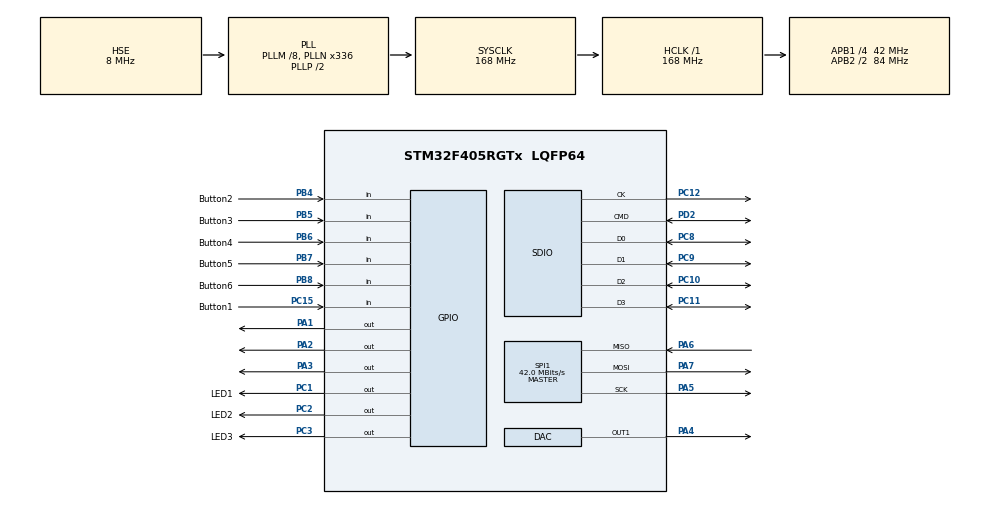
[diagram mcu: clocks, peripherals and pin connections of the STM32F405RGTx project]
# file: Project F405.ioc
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Mcu.Family=STM32F4
Dma.SPI1_TX.4.MemInc=DMA_MINC_ENABLE
PA6.Mode=Full_Duplex_Master
PH0-OSC_IN.Signal=RCC_OSC_IN
RCC.CortexFreq_Value=168000000
Dma.SDIO_RX.1.PeriphDataAlignment=DMA_PDATAALIGN_WORD
SPI1.VirtualType=VM_MASTER
Dma.SPI1_RX.3.PeriphInc=DMA_PINC_DISABLE
VP_FATFS_VS_SDIO.Mode=SDIO
PC10.Signal=SDIO_D2
PC12.Signal=SDIO_CK
Dma.SDIO_RX.1.Mode=DMA_PFCTRL
Dma.SDIO_RX.1.Direction=DMA_PERIPH_TO_MEMORY
Dma.SPI1_RX.3.Instance=DMA2_Stream0
Dma.SDIO_RX.1.Priority=DMA_PRIORITY_LOW
PB6.GPIO_Label=Button4
PC2.GPIO_Speed=GPIO_SPEED_FREQ_HIGH
Dma.SPI1_RX.3.Mode=DMA_NORMAL
PC15-OSC32_OUT.GPIO_Label=Button1
PC3.GPIO_Speed=GPIO_SPEED_FREQ_HIGH
RCC.SYSCLKSource=RCC_SYSCLKSOURCE_PLLCLK
ProjectManager.StackSize=0x400
PC3.PinState=GPIO_PIN_SET
Dma.SPI1_RX.3.MemDataAlignment=DMA_MDATAALIGN_BYTE
Dma.SDIO_RX.1.Instance=DMA2_Stream3
Dma.SDIO_TX.2.Mode=DMA_PFCTRL
Dma.SPI1_RX.3.Priority=DMA_PRIORITY_LOW
Dma.SDIO_TX.2.MemDataAlignment=DMA_MDATAALIGN_WORD
SPI1.Direction=SPI_DIRECTION_2LINES
RCC.HCLKFreq_Value=168000000
Dma.DAC1.0.PeriphInc=DMA_PINC_DISABLE
RCC.APB2TimFreq_Value=168000000
Dma.SDIO_RX.1.FIFOMode=DMA_FIFOMODE_ENABLE
PB6.Signal=GPIO_Input
SPI1.CalculateBaudRate=42.0 MBits/s
PC3.Signal=GPIO_Output
NVIC.DMA2_Stream0_IRQn=true\:0\:0\:false\:false\:true\:false\:true
PC1.PinState=GPIO_PIN_SET
Dma.DAC1.0.Direction=DMA_MEMORY_TO_PERIPH
RCC.AHBFreq_Value=168000000
PH0-OSC_IN.Mode=HSE-External-Oscillator
RCC.HSE_VALUE=8000000
Dma.SPI1_TX.4.FIFOMode=DMA_FIFOMODE_DISABLE
Dma.DAC1.0.Priority=DMA_PRIORITY_LOW
DAC.DAC_Trigger=DAC_TRIGGER_T6_TRGO
Dma.DAC1.0.FIFOMode=DMA_FIFOMODE_DISABLE
PA14.Mode=Serial_Wire
Dma.SPI1_RX.3.Direction=DMA_PERIPH_TO_MEMORY
NVIC.TIM2_IRQn=true\:0\:0\:false\:false\:true\:true\:true
PC9.Mode=SD_4_bits_Wide_bus
Dma.SDIO_TX.2.Direction=DMA_MEMORY_TO_PERIPH
PB7.Signal=GPIO_Input
Dma.SPI1_TX.4.MemDataAlignment=DMA_MDATAALIGN_BYTE
TIM6.Period=93
PH1-OSC_OUT.Mode=HSE-External-Oscillator
PB7.GPIO_Label=Button5
Mcu.Package=LQFP64
PA6.Signal=SPI1_MISO
Dma.DAC1.0.PeriphDataAlignment=DMA_PDATAALIGN_HALFWORD
Dma.SPI1_TX.4.Direction=DMA_MEMORY_TO_PERIPH
Dma.SDIO_TX.2.PeriphBurst=DMA_PBURST_INC4
Dma.DAC1.0.Mode=DMA_CIRCULAR
PC11.Mode=SD_4_bits_Wide_bus
Dma.SDIO_RX.1.PeriphBurst=DMA_PBURST_INC4
RCC.APB2CLKDivider=RCC_HCLK_DIV2
PB5.GPIO_Label=Button3
Dma.Request2=SDIO_TX
Dma.Request1=SDIO_RX
RCC.APB1TimFreq_Value=84000000
Dma.Request4=SPI1_TX
Dma.Request3=SPI1_RX
Dma.Request0=DAC1
Dma.SDIO_TX.2.FIFOThreshold=DMA_FIFO_THRESHOLD_FULL
PC2.GPIO_Label=LED2
PB4.Signal=GPIO_Input
PA3.Signal=GPIO_Output
PA5.Mode=Full_Duplex_Master
PB7.GPIO_PuPd=GPIO_PULLUP
RCC.PLLSourceVirtual=RCC_PLLSOURCE_HSE
SH.COMP_DAC1_group.0=DAC_OUT1,DAC_OUT1
Dma.SDIO_TX.2.MemInc=DMA_MINC_ENABLE
Dma.DAC1.0.Instance=DMA1_Stream5
PA7.Mode=Full_Duplex_Master
PC11.Signal=SDIO_D3
PB6.GPIO_PuPd=GPIO_PULLUP
Dma.SPI1_TX.4.PeriphDataAlignment=DMA_PDATAALIGN_BYTE
PC8.Signal=SDIO_D0
PB8.GPIO_PuPd=GPIO_PULLUP
PC2.Signal=GPIO_Output
PC10.Mode=SD_4_bits_Wide_bus
VP_TIM6_VS_ClockSourceINT.Mode=Enable_Timer
Dma.SDIO_TX.2.Instance=DMA2_Stream6
RCC.APB1CLKDivider=RCC_HCLK_DIV4
Dma.SPI1_TX.4.Instance=DMA2_Stream5
Dma.SDIO_RX.1.PeriphInc=DMA_PINC_DISABLE
Dma.DAC1.0.MemDataAlignment=DMA_MDATAALIGN_HALFWORD
PA13.Signal=SYS_JTMS-SWDIO
PB8.GPIO_Label=Button6
ProjectManager.TargetToolchain=MDK-ARM V5
NVIC.DMA1_Stream5_IRQn=true\:0\:0\:false\:false\:true\:false\:true
Dma.SDIO_TX.2.PeriphDataAlignment=DMA_PDATAALIGN_WORD
PB4.GPIO_PuPd=GPIO_PULLUP
NVIC.DMA2_Stream3_IRQn=true\:0\:0\:false\:false\:true\:false\:true
NVIC.DMA2_Stream6_IRQn=true\:0\:0\:false\:false\:true\:false\:true
RCC.LSE_VALUE=32768
PC15-OSC32_OUT.Signal=GPIO_Input
PA1.Signal=GPIO_Output
Dma.SDIO_RX.1.MemDataAlignment=DMA_MDATAALIGN_WORD
Dma.SDIO_RX.1.FIFOThreshold=DMA_FIFO_THRESHOLD_FULL
Dma.SPI1_RX.3.MemInc=DMA_MINC_ENABLE
PD2.Mode=SD_4_bits_Wide_bus
PA5.Signal=SPI1_SCK
PC12.Mode=SD_4_bits_Wide_bus
board=custom
Dma.SDIO_RX.1.MemBurst=DMA_MBURST_INC4
RCC.VCOOutputFreq_Value=336000000
RCC.APB2Freq_Value=84000000
PB4.GPIO_Label=Button2
VP_TIM2_VS_ClockSourceINT.Mode=Internal
SPI1.Mode=SPI_MODE_MASTER
NVIC.DMA2_Stream5_IRQn=true\:0\:0\:false\:false\:true\:false\:true
PC1.GPIO_Label=LED1
TIM6.TIM_MasterOutputTrigger=TIM_TRGO_UPDATE
PH1-OSC_OUT.Signal=RCC_OSC_OUT
PC1.GPIO_Speed=GPIO_SPEED_FREQ_HIGH
PC15-OSC32_OUT.GPIO_PuPd=GPIO_PULLUP
TIM2.Period=349999
PA13.Mode=Serial_Wire
Mcu.Name=STM32F405RGTx
PA2.Signal=GPIO_Output
Dma.SDIO_TX.2.Priority=DMA_PRIORITY_LOW
FATFS._MAX_SS=4096
PC8.Mode=SD_4_bits_Wide_bus
Dma.SPI1_TX.4.PeriphInc=DMA_PINC_DISABLE
RCC.48MHZClocksFreq_Value=48000000
Dma.SPI1_TX.4.Priority=DMA_PRIORITY_LOW
PA4.Signal=COMP_DAC1_group
RCC.SYSCLKFreq_VALUE=168000000
PB5.Signal=GPIO_Input
PC2.PinState=GPIO_PIN_SET
Dma.DAC1.0.MemInc=DMA_MINC_ENABLE
Dma.SPI1_RX.3.PeriphDataAlignment=DMA_PDATAALIGN_BYTE
PB5.GPIO_PuPd=GPIO_PULLUP
PA14.Signal=SYS_JTCK-SWCLK
Dma.SDIO_TX.2.MemBurst=DMA_MBURST_INC4
ProjectManager.HeapSize=0x200
Dma.SDIO_RX.1.MemInc=DMA_MINC_ENABLE
Dma.SDIO_TX.2.FIFOMode=DMA_FIFOMODE_ENABLE
Dma.SPI1_TX.4.Mode=DMA_NORMAL
RCC.HSI_VALUE=16000000
RCC.PLLQ=7
NVIC.PriorityGroup=NVIC_PRIORITYGROUP_4
Dma.SPI1_RX.3.FIFOMode=DMA_FIFOMODE_DISABLE
RCC.PLLM=8
RCC.PLLN=336
PB8.Signal=GPIO_Input
TIM2.AutoReloadPreload=TIM_AUTORELOAD_PRELOAD_ENABLE
PC3.GPIO_Label=LED3
Dma.SDIO_TX.2.PeriphInc=DMA_PINC_DISABLE
PC9.Signal=SDIO_D1
PD2.Signal=SDIO_CMD
RCC.APB1Freq_Value=42000000
PC1.Signal=GPIO_Output
PA7.Signal=SPI1_MOSI

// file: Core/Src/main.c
/* USER CODE BEGIN Header */
/**
  ******************************************************************************
  * @file           : main.c
  * @brief          : Main program body
  ******************************************************************************
  * @attention
  *
  * <h2><center>&copy; Copyright (c) 2020 STMicroelectronics.
  * All rights reserved.</center></h2>
  *
  * This software component is licensed by ST under BSD 3-Clause license,
  * the "License"; You may not use this file except in compliance with the
  * License. You may obtain a copy of the License at:
  *                        opensource.org/licenses/BSD-3-Clause
  *
  ******************************************************************************
  */
/* USER CODE END Header */
#include "main.h"
#include "fatfs.h"

/* USER CODE BEGIN Includes */
#include "stdio.h"
#include "string.h"
#include "stdlib.h"

#include "nes_channels.h"
#include "emulator6502.h"
#include "button.h"

//Tony's include library
#include "lcd.h"
#include "nsf.h"
/* USER CODE END Includes */

/* USER CODE BEGIN PD */
#define LED1 GPIOC, GPIO_PIN_1
#define LED2 GPIOC, GPIO_PIN_2
#define LED3 GPIOC, GPIO_PIN_3

//#define SAFE_TESTING
#ifdef SAFE_TESTING
	#include "nsf_array.h"
#endif
/* USER CODE END PD */

DAC_HandleTypeDef hdac;
DMA_HandleTypeDef hdma_dac1;

SD_HandleTypeDef hsd;
DMA_HandleTypeDef hdma_sdio_rx;
DMA_HandleTypeDef hdma_sdio_tx;

SPI_HandleTypeDef hspi1;
DMA_HandleTypeDef hdma_spi1_rx;
DMA_HandleTypeDef hdma_spi1_tx;

TIM_HandleTypeDef htim2;
TIM_HandleTypeDef htim6;

/* USER CODE BEGIN PV */
#define DAC_BUFFER_LEN 256
uint16_t DAC_BUFFER[DAC_BUFFER_LEN] = {0};

//music player variables
//uint8_t song_loaded = 0;
//uint8_t song_select = 0;
//uint8_t num_songs = 18;
//uint8_t led_bug = 0;
struct {
	uint8_t nsf_loaded;
	uint8_t song_loaded;
	uint8_t song_select;
	uint8_t num_songs;
	uint8_t paused;
} musicPlayer;

volatile uint8_t update_flag = 0;
//volatile uint8_t song_changing = 0;

//NES channels
PulseChannel pulse1 = {
	.volume = 0,
	.sweep_complement = 1,
};

PulseChannel pulse2 = {
	.volume = 0,
	.sweep_complement = 0,
};

TriangleChannel triangle = {
	.timer_lo = 0,
};

NoiseChannel noise = {
	.shift_register = 1,
	.volume = 0,
};

//sd card variables
extern char SDPath[4];
extern FATFS SDFatFS;
extern FIL SDFile;

FRESULT res;
uint32_t byteswritten, bytesread;
nsf_file file;
char file_name_list[10][40];

#define max_song 10//for easier implementation without using daynamic array
#define total_channel 4
extern TFT_Select_list selected;
extern TFT_Select_list_detail selected_detail;
int file_count =0;
int other_stuff=0;
int sd_card_inserted_flag =0;
int channel_enabled[4];
/* USER CODE END PV */

void SystemClock_Config(void);
static void MX_GPIO_Init(void);
static void MX_DMA_Init(void);
static void MX_DAC_Init(void);
static void MX_TIM6_Init(void);
static void MX_SDIO_SD_Init(void);
static void MX_SPI1_Init(void);
static void MX_TIM2_Init(void);
/* USER CODE BEGIN PFP */
FRESULT scan_files (char* path);
void scan_nsf_file(char * file_name);
/* USER CODE END PFP */

/* USER CODE BEGIN 0 */
#define AUDIO_VOLUME 0.3f

void mixAudio(uint16_t *buffer, uint8_t *mix_buffer, uint16_t len) {
	//perform mixing on a buffer 4 times the length of (half) output to DAC buffer
	//overall scaling done here
	//note that len should be the length of the output buffer aka 1/4 length of buffer
	#pragma unroll 8
	for (uint16_t i = 0; i < len; ++i) {
		#define p1 mix_buffer[i]
		#define p2 mix_buffer[len + i]
		#define tr mix_buffer[2*len + i]
		#define ns mix_buffer[3*len + i]

		//pulse mixing
		float pulseMix = (p1 + p2) == 0 ? 0 : (95.88f / (8128.0f / (p1 + p2) + 100));
		//tri and noise mixing
		float tnMix = (tr + ns) == 0 ? 0 : (159.79f / (1.0f / (tr / 8227.0f + ns / 12241.0f) + 100));

		//put in buffer with scaling
		buffer[i] = (uint16_t)((pulseMix + tnMix) * 4095 * AUDIO_VOLUME);

		//overflow check
		if (buffer[i] > 4095) buffer[i] = 4095;
	}
}

//helper for force mute/unmute all channels
void forceMute(uint8_t muted) {
	pulse1.channel_muted = muted;
	pulse2.channel_muted = muted;
	triangle.channel_muted = muted;
	noise.channel_muted = muted;
}

//going safe method here
uint8_t mix_buffer[DAC_BUFFER_LEN * 4 / 2] = {0};

// DMA INTERRUPTS
void update_DAC_BUFFER(uint16_t *buffer, uint16_t len) {
	//if changing song, return
	//if (song_changing) return;
	//create a temp array for mixing
	//uint8_t* mix_buffer = (uint8_t*)malloc(len * 4);
	memset(mix_buffer, 0, len * 4);

	if (!musicPlayer.paused) {
		readPulse(&mix_buffer[0], len, &pulse1);
		readPulse(&mix_buffer[len], len, &pulse2);
		readTriangle(&mix_buffer[2*len], len, &triangle);
		readNoise(&mix_buffer[3*len], len, &noise);
	}

	//do mixing
	mixAudio(buffer, mix_buffer, len);

	//release memory
	//free(mix_buffer);
}

void HAL_DAC_ConvHalfCpltCallbackCh1(DAC_HandleTypeDef *hdac) {
	update_DAC_BUFFER(&DAC_BUFFER[0], DAC_BUFFER_LEN/2);
}

void HAL_DAC_ConvCpltCallbackCh1(DAC_HandleTypeDef *hdac) {
	update_DAC_BUFFER(&DAC_BUFFER[DAC_BUFFER_LEN/2], DAC_BUFFER_LEN/2);
}

void initRAM(uint16_t init_addr, uint16_t play_addr) {
	memset(pRAM, 0, 0x0800);
	memset(pSRAM, 0, 0x2000);
	memset(pExRAM, 0, 0x1000);
	pStack = pRAM + 0x100;

	pExRAM[0x00] = 0x20;						//JSR
	memcpy(&pExRAM[0x01],&init_addr,2);	//Init Address
	pExRAM[0x03] = 0xF2;						//JAM
	pExRAM[0x04] = 0x20;						//JSR
	memcpy(&pExRAM[0x05],&play_addr,2);	//Play Address
	pExRAM[0x07] = 0x4C;						//JMP
	pExRAM[0x08] = 0x03;						//$5003  (JAM right before the JSR to play address)
	pExRAM[0x09] = 0x50;

	regA = regX = regY = 0;
	regP = 0x04;			//I_FLAG
	regSP = 0xFF;

	/*	Reset Read/Write Procs			*/
	ReadMemory[0] = ReadMemory[1] = ReadMemory_RAM;
	ReadMemory[2] = ReadMemory[3] = ReadMemory_Default;
	ReadMemory[4] =					ReadMemory_pAPU;
	ReadMemory[5] =					ReadMemory_ExRAM;
	ReadMemory[6] = ReadMemory[7] = ReadMemory_SRAM;

	WriteMemory[0] = WriteMemory[1] =	WriteMemory_RAM;
	WriteMemory[2] = WriteMemory[3] =	WriteMemory_Default;
	WriteMemory[4] =					WriteMemory_pAPU;
	WriteMemory[5] =					WriteMemory_ExRAM;
	WriteMemory[6] = WriteMemory[7] =	WriteMemory_SRAM;

	for(int i = 8; i < 16; i++) {
		ReadMemory[i] = ReadMemory_ROM;
		WriteMemory[i] = WriteMemory_Default;
	}
}

void initInstruction(void) {
	//do init instructions
	while (regPC != 0x5003) { //until PC reaches after INIT
		//execute next instruction
		emulate6502(nCPUCycle + 1);
		if (regPC < 0x5000 || (regPC > 0x5009 && regPC < 0x8000)) {
			musicPlayer.paused = 1;
			break;
		}
	}
}

void initSong(void) {
	//set flag
	//__disable_irq();
	//song_changing = 1;
	//memset(DAC_BUFFER, 0, DAC_BUFFER_LEN * 2);
	uint8_t song_num = musicPlayer.song_select;
	if (song_num == 0) {
		musicPlayer.song_loaded = 0;
		forceMute(1);
		return;
	}
	else {
		musicPlayer.song_loaded = 1;
		forceMute(0);
	}

	regPC = 0x5000;
	regA = song_num - 1;
	regX = bPALMode;
	regY = 0; //bCleanAXY ? 0 : 0xCD;
	regSP = 0xFF;
	//if(bCleanAXY)
	//	regP = 0x04;
	bCPUJammed = 0;

	nCPUCycle = nAPUCycle = 0;

	for(int i = 0x4000; i < 0x400F; i++)
		WriteMemory_pAPU(i,0);
	WriteMemory_pAPU(0x4010,0);
	WriteMemory_pAPU(0x4012,0);
	WriteMemory_pAPU(0x4013,0);
	WriteMemory_pAPU(0x4014,0);
	WriteMemory_pAPU(0x4015,0);
	WriteMemory_pAPU(0x4015,0x0F);
	WriteMemory_pAPU(0x4017,0);

	for(int i = 0; i < 10; i++) {
		WriteMemory_ExRAM(0x5FF6 + i, nBankswitchInitValues[i]);
	}

	//apparently songs can be switched without calling INIT instructions
	//but let's just do what the wiki says
	initInstruction();

	//reset flag
	//song_changing = 0;
	//__enable_irq();
}

// Load the SD card data into pROM_Full
// (UNUSED, implemented in scan_nsf_file())
void load_ROM() {
	//memset(pROM_Full, 0, 0x8000);
	#ifdef SAFE_TESTING
	int idx = 0xbdc4;
	for (uint32_t i=0; i<16956; ++i) {
		pROM_Full[idx - 0x8000 + i] = NSF_ARRAY[i];
	}
	#endif

}

// Call this function after finishing reading nsf file
void load_NSF_data(nsf_file* file) {
	//init RAM stuff
	uint16_t init_addr = (int16_t)file->format.init_address_orgin[1]<<8 | file->format.init_address_orgin[0];
	uint16_t play_addr = (int16_t)file->format.play_address_orgin[1]<<8 | file->format.play_address_orgin[0];
	initRAM(init_addr, play_addr);

	//bankswitching setup
	uint8_t use_bankswitch = 0;
	for (uint8_t i=0; i<8; ++i) use_bankswitch += file->format.Bankswitch[i];
	if (use_bankswitch) {
		for (uint8_t i=0; i<10; ++i) {
			if (i >= 2) {
				nBankswitchInitValues[i] = file->format.Bankswitch[i-2];
			}
			else nBankswitchInitValues[i] = i;
		}
	}
	else {
		for (uint8_t i=0; i<10; ++i) {
			if (i >= 2) nBankswitchInitValues[i] = i-2;
			else nBankswitchInitValues[i] = i;
		}
	}

	//init the first song
	//change the default values to NSF data (i may group these variables to one object later, for now just use it)
	musicPlayer.song_select = 0;//file->format.starting_song;
	musicPlayer.num_songs = file->format.total_song;
	initSong();

	//unpause
	musicPlayer.nsf_loaded = 1;
	musicPlayer.paused = 0;
}

//Frame Counter Timer
void HAL_TIM_PeriodElapsedCallback(TIM_HandleTypeDef *htim) {
	if (htim != &htim2) return;
	update_flag = 1;
}

/**
	* Define callbacks for buttons here
	* Then remember to add callbacks in button.c
	*/
void SW5_pressed_callback(void) {
	if (!musicPlayer.nsf_loaded) return;
	switch(selected_detail){
			case TFT_PAUSE:
				musicPlayer.paused ^= 1;
				break;
			case TFT_P1:
				pulse1.channel_muted ^=1;
			break;
			case TFT_P2:
				pulse2.channel_muted ^=1;
			break;
			case TFT_TR:
				triangle.channel_muted ^=1;
			break;
			case TFT_NS:
				noise.channel_muted ^=1;
			break;
			case TFT_SONG:

			default:
				break;
		}
}
//uint8_t first = 1;
void SW2_pressed_callback(void) {
	if (!musicPlayer.nsf_loaded) {
		#ifdef SAFE_TESTING
			load_ROM();
			uint16_t init_addr = 0xbe34;
			uint16_t play_addr = 0xf2d0;
			initRAM(init_addr, play_addr);
			song_select = 2;
			num_songs = 18;
			initSong(song_select);
			//if (first) {
			//	initInstruction();
			//	first = 0;
			//}
			song_loaded = 1;
		#else
			scan_nsf_file(file_name_list[selected-1]);
		#endif
		selected_detail = TFT_SONG;
	}
	else{
		musicPlayer.nsf_loaded = 0;
		//memset(DAC_BUFFER,0,DAC_BUFFER_LEN*2);
		tft_update(0);
		forceMute(1);
	}
}

void SW4_pressed_callback(void) {
	if(!musicPlayer.nsf_loaded) {
		selected = selected +1;
		if(selected >file_count+other_stuff){
			//if(file_count+other_stuff==0)
			//	selected = 0;
			//else if(other_stuff==0)
				selected = 1;
			//else if(selected >file_count)
			//	selected = max_song+1;
			//else
			//	selected=1;
		}
	}
	else{
		switch(selected_detail){
			case TFT_SONG:
				selected_detail=TFT_P1;
				break;
			case TFT_PAUSE:
				selected_detail=TFT_SONG;
				break;
			case TFT_P1:
			case TFT_P2:
			case TFT_TR:
			case TFT_NS:
				selected_detail=TFT_PAUSE;
				break;
			default:
				break;
		}
	}
}

void SW6_pressed_callback(void) {
	if(!musicPlayer.nsf_loaded) {
		selected = selected - 1;
		if(selected < 1){
			//if(file_count+other_stuff==0)
			//	selected = 0;
			//else if(other_stuff==0)
				selected = file_count;
			//else if(selected < 1)
			//	selected = max_song+1;
			//else
			//	selected=1;
		}
	}
	else{
		switch(selected_detail){
			case TFT_SONG:
				selected_detail=TFT_PAUSE;
				break;
			case TFT_PAUSE:
				selected_detail=TFT_P1;
				break;
			case TFT_P1:
			case TFT_P2:
			case TFT_TR:
			case TFT_NS:
				selected_detail=TFT_SONG;
				break;
			default:
				break;
		}
	}
}

void SW3_pressed_callback(void) {
	if (!musicPlayer.nsf_loaded) return;
	switch(selected_detail){
			case TFT_SONG:
				if (musicPlayer.song_select == 0) musicPlayer.song_select = musicPlayer.num_songs + 1;
				musicPlayer.song_select = (musicPlayer.song_select - 1) % (musicPlayer.num_songs + 1);
				initSong();
				break;
			case TFT_PAUSE:
				break;
			case TFT_P1:
				selected_detail = TFT_NS;
			break;
			case TFT_P2:
				selected_detail = TFT_P1;
			break;
			case TFT_TR:
				selected_detail = TFT_P2;
			break;
			case TFT_NS:
				selected_detail = TFT_TR;
			break;
			default:
				break;
		}
}

void SW7_pressed_callback(void){
	if (!musicPlayer.nsf_loaded) return;
	switch(selected_detail){
			case TFT_SONG:
				musicPlayer.song_select = (musicPlayer.song_select + 1) % (musicPlayer.num_songs + 1);
				initSong();
				break;
			case TFT_PAUSE:
				break;
			case TFT_P1:
				selected_detail = TFT_P2;
			break;
			case TFT_P2:
				selected_detail = TFT_TR;
			break;
			case TFT_TR:
				selected_detail = TFT_NS;
			break;
			case TFT_NS:
				selected_detail = TFT_P1;
			break;
			default:
				break;
		}
}

/* USER CODE END 0 */

int main(void)
{

  /* MCU Configuration--------------------------------------------------------*/

  /* Reset of all peripherals, Initializes the Flash interface and the Systick. */
  HAL_Init();

  /* Configure the system clock */
  SystemClock_Config();

  /* Initialize all configured peripherals */
  MX_GPIO_Init();
  MX_DMA_Init();
  MX_DAC_Init();
  MX_TIM6_Init();
  MX_SDIO_SD_Init();
  MX_SPI1_Init();
  MX_FATFS_Init();
  MX_TIM2_Init();
  /* USER CODE BEGIN 2 */
	initTriangleLookup();
	initButtons();
  /* USER CODE END 2 */

  /* Infinite loop */
  /* USER CODE BEGIN WHILE */
	HAL_TIM_Base_Start_IT(&htim2);
	HAL_TIM_Base_Start(&htim6);
	HAL_DAC_Start(&hdac, DAC_CHANNEL_1);
	HAL_DAC_Start_DMA(&hdac, DAC_CHANNEL_1, (uint32_t*)DAC_BUFFER, DAC_BUFFER_LEN, DAC_ALIGN_12B_R);
	//TFT init and sd card mount and get the file name
	tft_init(PIN_ON_TOP, WHITE, BLACK, RED, GREEN);
	char buff[10];
	//HAL_Delay(1000);
	res= f_mount(&SDFatFS, (TCHAR const*)SDPath, 0);
	sd_card_inserted_flag=1;
//	if(res != FR_OK)
//			sd_card_inserted_flag=0;
//	else
//		sd_card_inserted_flag=1;
	strcpy(buff, "/");
	res = scan_files(buff);
//	for(uint32_t i=0; i<total_channel;i++){
//		channel_enabled[i]= 1;
//	}

  while (1)
  {
    /* USER CODE END WHILE */

    /* USER CODE BEGIN 3 */
		//TFT_print thread
		//Wave generation thread
		static uint32_t last_tft_ticks = 0;
		if (HAL_GetTick() - last_tft_ticks >= 50) {
			last_tft_ticks = HAL_GetTick();

		//check for sd card
//		if(sd_card_inserted_flag==0){
//		res= f_mount(&SDFatFS, (TCHAR const*)SDPath, 0);
//			if(res != FR_OK)
//				sd_card_inserted_flag=0;
//			else
//				sd_card_inserted_flag=1;
//		}
//		if(sd_card_inserted_flag==1){
//		res = f_stat("SUPERM~1.NSF",NULL);
//			if(res != FR_OK)
//				sd_card_inserted_flag=0;
//			else
//				sd_card_inserted_flag=1;
//		}

		if(sd_card_inserted_flag==1){
			if(!musicPlayer.nsf_loaded){
				tft_prints(0,3,"Files:");
				for (uint32_t i =0; i< file_count; i ++){
					custom_tft_prints(0,4+i,i+1,0,file_name_list[i]);
				}
			}
			else{
				char buffer[10];
				tft_prints(0,0,"Name: ");
				tft_prints(7,0,file.format.name);
				tft_prints(0,1,"Artist: ");
				tft_prints(9,1,file.format.artist);
				tft_prints(0,2,"Copyright: ");
				tft_prints(12,2,file.format.copy_right);
				custom_tft_prints(0,3,TFT_SONG,1,"current song: ");
				tft_prints(15,3,"%d/%d",musicPlayer.song_select,musicPlayer.num_songs);

				tft_prints(0,4,"Channels: ");
				if(pulse1.channel_muted == 0){
					tft_set_text_color(BLUE);
					custom_tft_prints(10,4,TFT_P1,1,"ch_1");
					tft_set_text_color(BLACK);
				}
				else
					custom_tft_prints(10,4,TFT_P1,1,"ch_1");
				if(pulse2.channel_muted == 0){
					tft_set_text_color(BLUE);
					custom_tft_prints(17,4,TFT_P2,1,"ch_2");
					tft_set_text_color(BLACK);
				}
				else
					custom_tft_prints(17,4,TFT_P2,1,"ch_2");
				if(triangle.channel_muted == 0){
					tft_set_text_color(BLUE);
					custom_tft_prints(24,4,TFT_TR,1,"ch_3");
					tft_set_text_color(BLACK);
				}
				else
					custom_tft_prints(24,4,TFT_TR,1,"ch_3");
				if(noise.channel_muted  == 0){
					tft_set_text_color(BLUE);
					custom_tft_prints(31,4,TFT_NS,1,"ch_4");
					tft_set_text_color(BLACK);
				}
				else
					custom_tft_prints(31,4,TFT_NS,1,"ch_4");

				custom_tft_prints(0,5,TFT_PAUSE,1,"PAUSED: ");
				tft_prints(10,5,"%d",(int)musicPlayer.paused);

		}
	 }
		else{
			tft_prints(0,3,"SD card is not inserted");
		}
		tft_update(0);
	 }
		//Wave generation thread
		static uint32_t last_wav_ticks = 0;
		if (HAL_GetTick() - last_wav_ticks >= 1) {
			last_wav_ticks = HAL_GetTick();

			if (update_flag) {
				static uint8_t wav_counter = 0;

				//do frame clocking at 240Hz
				clockFrame();

				//do next frame at 60 Hz
				if (wav_counter == 0)
				{
					if(musicPlayer.song_loaded && !musicPlayer.paused) {
						while (!(regPC > 0x5FFF)) { //until PC reaches PLAY instructions
							//execute next instruction
							emulate6502(nCPUCycle + 1);
							if (regPC < 0x5000 || (regPC > 0x5009 && regPC < 0x8000) || (bCPUJammed == 1)) {
								musicPlayer.paused = 1;
								break;
							}
						}
						while (regPC != 0x5007) { //until PC finishes PLAY instructions
							//execute next instruction
							emulate6502(nCPUCycle + 1);
							if (regPC < 0x5000 || (regPC > 0x5009 && regPC < 0x8000) || (bCPUJammed == 1)) {
								musicPlayer.paused = 1;
								break;
							}
						}
					}
				}

				//update
				wav_counter = (wav_counter + 1) % 4;

				//reset flag
				update_flag = 0;
			}
		}

		//LED thread
		static uint32_t last_led_ticks = 0;
		if (HAL_GetTick() - last_led_ticks >= 250) {
			last_led_ticks = HAL_GetTick();
			HAL_GPIO_TogglePin(LED3);
		}
		static uint32_t last_led2_ticks = 0;
		if (HAL_GetTick() - last_led2_ticks >= 10) {
			HAL_GPIO_WritePin(LED2, (GPIO_PinState)(!(musicPlayer.paused & 0x01)));
			HAL_GPIO_WritePin(LED1, (GPIO_PinState)(!(musicPlayer.paused & 0x02)));
		}

		//button thread
		static uint32_t last_button_ticks = 0;
		if (HAL_GetTick() - last_button_ticks >= 50) {
			last_button_ticks = HAL_GetTick();
			updateButtons();
		}
  }
  /* USER CODE END 3 */
}

void SystemClock_Config(void)
{
  RCC_OscInitTypeDef RCC_OscInitStruct = {0};
  RCC_ClkInitTypeDef RCC_ClkInitStruct = {0};

  /** Configure the main internal regulator output voltage
  */
  __HAL_RCC_PWR_CLK_ENABLE();
  __HAL_PWR_VOLTAGESCALING_CONFIG(PWR_REGULATOR_VOLTAGE_SCALE1);
  /** Initializes the RCC Oscillators according to the specified parameters
  * in the RCC_OscInitTypeDef structure.
  */
  RCC_OscInitStruct.OscillatorType = RCC_OSCILLATORTYPE_HSE;
  RCC_OscInitStruct.HSEState = RCC_HSE_ON;
  RCC_OscInitStruct.PLL.PLLState = RCC_PLL_ON;
  RCC_OscInitStruct.PLL.PLLSource = RCC_PLLSOURCE_HSE;
  RCC_OscInitStruct.PLL.PLLM = 8;
  RCC_OscInitStruct.PLL.PLLN = 336;
  RCC_OscInitStruct.PLL.PLLP = RCC_PLLP_DIV2;
  RCC_OscInitStruct.PLL.PLLQ = 7;
  if (HAL_RCC_OscConfig(&RCC_OscInitStruct) != HAL_OK)
  {
    Error_Handler();
  }
  /** Initializes the CPU, AHB and APB buses clocks
  */
  RCC_ClkInitStruct.ClockType = RCC_CLOCKTYPE_HCLK|RCC_CLOCKTYPE_SYSCLK
                              |RCC_CLOCKTYPE_PCLK1|RCC_CLOCKTYPE_PCLK2;
  RCC_ClkInitStruct.SYSCLKSource = RCC_SYSCLKSOURCE_PLLCLK;
  RCC_ClkInitStruct.AHBCLKDivider = RCC_SYSCLK_DIV1;
  RCC_ClkInitStruct.APB1CLKDivider = RCC_HCLK_DIV4;
  RCC_ClkInitStruct.APB2CLKDivider = RCC_HCLK_DIV2;

  if (HAL_RCC_ClockConfig(&RCC_ClkInitStruct, FLASH_LATENCY_5) != HAL_OK)
  {
    Error_Handler();
  }
}

static void MX_DAC_Init(void)
{

  DAC_ChannelConfTypeDef sConfig = {0};

  /** DAC Initialization
  */
  hdac.Instance = DAC;
  if (HAL_DAC_Init(&hdac) != HAL_OK)
  {
    Error_Handler();
  }
  /** DAC channel OUT1 config
  */
  sConfig.DAC_Trigger = DAC_TRIGGER_T6_TRGO;
  sConfig.DAC_OutputBuffer = DAC_OUTPUTBUFFER_ENABLE;
  if (HAL_DAC_ConfigChannel(&hdac, &sConfig, DAC_CHANNEL_1) != HAL_OK)
  {
    Error_Handler();
  }

}

static void MX_SDIO_SD_Init(void)
{

  hsd.Instance = SDIO;
  hsd.Init.ClockEdge = SDIO_CLOCK_EDGE_RISING;
  hsd.Init.ClockBypass = SDIO_CLOCK_BYPASS_DISABLE;
  hsd.Init.ClockPowerSave = SDIO_CLOCK_POWER_SAVE_DISABLE;
  hsd.Init.BusWide = SDIO_BUS_WIDE_1B;
  hsd.Init.HardwareFlowControl = SDIO_HARDWARE_FLOW_CONTROL_DISABLE;
  hsd.Init.ClockDiv = 20;

}

static void MX_SPI1_Init(void)
{

  /* SPI1 parameter configuration*/
  hspi1.Instance = SPI1;
  hspi1.Init.Mode = SPI_MODE_MASTER;
  hspi1.Init.Direction = SPI_DIRECTION_2LINES;
  hspi1.Init.DataSize = SPI_DATASIZE_8BIT;
  hspi1.Init.CLKPolarity = SPI_POLARITY_LOW;
  hspi1.Init.CLKPhase = SPI_PHASE_1EDGE;
  hspi1.Init.NSS = SPI_NSS_SOFT;
  hspi1.Init.BaudRatePrescaler = SPI_BAUDRATEPRESCALER_2;
  hspi1.Init.FirstBit = SPI_FIRSTBIT_MSB;
  hspi1.Init.TIMode = SPI_TIMODE_DISABLE;
  hspi1.Init.CRCCalculation = SPI_CRCCALCULATION_DISABLE;
  hspi1.Init.CRCPolynomial = 10;
  if (HAL_SPI_Init(&hspi1) != HAL_OK)
  {
    Error_Handler();
  }

}

static void MX_TIM2_Init(void)
{

  TIM_ClockConfigTypeDef sClockSourceConfig = {0};
  TIM_MasterConfigTypeDef sMasterConfig = {0};

  htim2.Instance = TIM2;
  htim2.Init.Prescaler = 0;
  htim2.Init.CounterMode = TIM_COUNTERMODE_UP;
  htim2.Init.Period = 349999;
  htim2.Init.ClockDivision = TIM_CLOCKDIVISION_DIV1;
  htim2.Init.AutoReloadPreload = TIM_AUTORELOAD_PRELOAD_ENABLE;
  if (HAL_TIM_Base_Init(&htim2) != HAL_OK)
  {
    Error_Handler();
  }
  sClockSourceConfig.ClockSource = TIM_CLOCKSOURCE_INTERNAL;
  if (HAL_TIM_ConfigClockSource(&htim2, &sClockSourceConfig) != HAL_OK)
  {
    Error_Handler();
  }
  sMasterConfig.MasterOutputTrigger = TIM_TRGO_RESET;
  sMasterConfig.MasterSlaveMode = TIM_MASTERSLAVEMODE_DISABLE;
  if (HAL_TIMEx_MasterConfigSynchronization(&htim2, &sMasterConfig) != HAL_OK)
  {
    Error_Handler();
  }

}

static void MX_TIM6_Init(void)
{

  TIM_MasterConfigTypeDef sMasterConfig = {0};

  /* USER CODE BEGIN TIM6_Init 1 */

	//=============================================================================//
	// REMEMBER TO CHANGE PERIOD TO (47 * TIMER_RATE) - 1 AFTER CONFIG WITH CUBEMX //
	//=============================================================================//

  /* USER CODE END TIM6_Init 1 */
  htim6.Instance = TIM6;
  htim6.Init.Prescaler = 0;
  htim6.Init.CounterMode = TIM_COUNTERMODE_UP;
  htim6.Init.Period = (47 * TIMER_RATE) - 1;
  htim6.Init.AutoReloadPreload = TIM_AUTORELOAD_PRELOAD_DISABLE;
  if (HAL_TIM_Base_Init(&htim6) != HAL_OK)
  {
    Error_Handler();
  }
  sMasterConfig.MasterOutputTrigger = TIM_TRGO_UPDATE;
  sMasterConfig.MasterSlaveMode = TIM_MASTERSLAVEMODE_DISABLE;
  if (HAL_TIMEx_MasterConfigSynchronization(&htim6, &sMasterConfig) != HAL_OK)
  {
    Error_Handler();
  }

}

static void MX_DMA_Init(void)
{

  /* DMA controller clock enable */
  __HAL_RCC_DMA1_CLK_ENABLE();
  __HAL_RCC_DMA2_CLK_ENABLE();

  /* DMA interrupt init */
  /* DMA1_Stream5_IRQn interrupt configuration */
  HAL_NVIC_SetPriority(DMA1_Stream5_IRQn, 0, 0);
  HAL_NVIC_EnableIRQ(DMA1_Stream5_IRQn);
  /* DMA2_Stream0_IRQn interrupt configuration */
  HAL_NVIC_SetPriority(DMA2_Stream0_IRQn, 0, 0);
  HAL_NVIC_EnableIRQ(DMA2_Stream0_IRQn);
  /* DMA2_Stream3_IRQn interrupt configuration */
  HAL_NVIC_SetPriority(DMA2_Stream3_IRQn, 0, 0);
  HAL_NVIC_EnableIRQ(DMA2_Stream3_IRQn);
  /* DMA2_Stream5_IRQn interrupt configuration */
  HAL_NVIC_SetPriority(DMA2_Stream5_IRQn, 0, 0);
  HAL_NVIC_EnableIRQ(DMA2_Stream5_IRQn);
  /* DMA2_Stream6_IRQn interrupt configuration */
  HAL_NVIC_SetPriority(DMA2_Stream6_IRQn, 0, 0);
  HAL_NVIC_EnableIRQ(DMA2_Stream6_IRQn);

}

static void MX_GPIO_Init(void)
{
  GPIO_InitTypeDef GPIO_InitStruct = {0};

  /* GPIO Ports Clock Enable */
  __HAL_RCC_GPIOC_CLK_ENABLE();
  __HAL_RCC_GPIOH_CLK_ENABLE();
  __HAL_RCC_GPIOA_CLK_ENABLE();
  __HAL_RCC_GPIOD_CLK_ENABLE();
  __HAL_RCC_GPIOB_CLK_ENABLE();

  /*Configure GPIO pin Output Level */
  HAL_GPIO_WritePin(GPIOC, LED1_Pin|LED2_Pin|LED3_Pin, GPIO_PIN_SET);

  /*Configure GPIO pin Output Level */
  HAL_GPIO_WritePin(GPIOA, GPIO_PIN_1|GPIO_PIN_2|GPIO_PIN_3, GPIO_PIN_RESET);

  /*Configure GPIO pin : Button1_Pin */
  GPIO_InitStruct.Pin = Button1_Pin;
  GPIO_InitStruct.Mode = GPIO_MODE_INPUT;
  GPIO_InitStruct.Pull = GPIO_PULLUP;
  HAL_GPIO_Init(Button1_GPIO_Port, &GPIO_InitStruct);

  /*Configure GPIO pins : LED1_Pin LED2_Pin LED3_Pin */
  GPIO_InitStruct.Pin = LED1_Pin|LED2_Pin|LED3_Pin;
  GPIO_InitStruct.Mode = GPIO_MODE_OUTPUT_PP;
  GPIO_InitStruct.Pull = GPIO_NOPULL;
  GPIO_InitStruct.Speed = GPIO_SPEED_FREQ_HIGH;
  HAL_GPIO_Init(GPIOC, &GPIO_InitStruct);

  /*Configure GPIO pins : PA1 PA2 PA3 */
  GPIO_InitStruct.Pin = GPIO_PIN_1|GPIO_PIN_2|GPIO_PIN_3;
  GPIO_InitStruct.Mode = GPIO_MODE_OUTPUT_PP;
  GPIO_InitStruct.Pull = GPIO_NOPULL;
  GPIO_InitStruct.Speed = GPIO_SPEED_FREQ_HIGH;
  HAL_GPIO_Init(GPIOA, &GPIO_InitStruct);

  /*Configure GPIO pins : Button2_Pin Button3_Pin Button4_Pin Button5_Pin
                           Button6_Pin */
  GPIO_InitStruct.Pin = Button2_Pin|Button3_Pin|Button4_Pin|Button5_Pin
                          |Button6_Pin;
  GPIO_InitStruct.Mode = GPIO_MODE_INPUT;
  GPIO_InitStruct.Pull = GPIO_PULLUP;
  HAL_GPIO_Init(GPIOB, &GPIO_InitStruct);

}

/* USER CODE BEGIN 4 */
FRESULT scan_files (char* path)
{
    FRESULT res;
    DIR dir;
    UINT i;
    static FILINFO fno;

		int count=0;
    res = f_opendir(&dir, path);                       /* Open the directory */
    if (res == FR_OK) {
        for (;;) {
            res = f_readdir(&dir, &fno);                   /* Read a directory item */
            if (res != FR_OK || fno.fname[0] == 0) break;  /* Break on error or end of dir */
            if (fno.fattrib & AM_DIR) {                    /* It is a directory */
                i = strlen(path);
                sprintf(&path[i], "/%s", fno.fname);
                res = scan_files(path);                    /* Enter the directory */
                if (res != FR_OK) break;
                path[i] = 0;
            } else {                                       /* It is a file. */
							  sprintf(file_name_list[count],"%s",fno.fname);
							count = count +1;
            }
        }
        f_closedir(&dir);
				file_count =count;
    }

    return res;
}

void scan_nsf_file(char * file_name){
	  res =f_open(&SDFile, file_name,  FA_READ);
		if(res != FR_OK)
			tft_prints(0, 15, "%d",res);
		int file_byte = f_size(&SDFile);
		memset(file.text,0,128);
		res = f_read(&SDFile, file.text, 128, (UINT*)&bytesread);
		if((bytesread == 0) || (res != FR_OK))
		{
			tft_prints(0, 18, "%d",res);
		}
		else
		{
			tft_prints(0, 18, "Read ok",2);
		}
		tft_update(0);
		tft_prints(0, 19, "%d",file_byte);
		int file_byte_left = file_byte-128;
		int idx = (int16_t)file.format.load_address_orgin[1]<<8 | file.format.load_address_orgin[0];

		//program only supports reading up to 9KB music data
		//if file size too big, cancel
		if (file_byte_left > MAX_ROM_SIZE) return;

		memset(pROM_Full,0,MAX_ROM_SIZE);

		#define CHUNK_SIZE 256

		while(file_byte_left>0){
			if(file_byte_left >= CHUNK_SIZE){
				uint8_t part_byte[CHUNK_SIZE];
				res = f_read(&SDFile, part_byte, CHUNK_SIZE, (UINT*)&bytesread);
				for (uint32_t i=0; i<CHUNK_SIZE; ++i) {
					pROM_Full[idx - 0x8000 +file_byte-128-file_byte_left+i] = part_byte[i];
	      }
				file_byte_left = file_byte_left-CHUNK_SIZE;
			}
			else{
				uint8_t part_byte[file_byte_left];
				res = f_read(&SDFile, part_byte, file_byte_left, (UINT*)&bytesread);
				for (uint32_t i=0; i<file_byte_left; ++i) {
					pROM_Full[idx - 0x8000+file_byte-128-file_byte_left+i] = part_byte[i];
	      }
				file_byte_left = file_byte_left-file_byte_left;
			}

		}
		if(!f_eof(&SDFile))
			tft_prints(0, 19, "Not eof!");
		f_close(&SDFile);
		tft_update(0);
	  load_NSF_data(&file);
}
/* USER CODE END 4 */

void Error_Handler(void)
{
}

/************************ (C) COPYRIGHT STMicroelectronics *****END OF FILE****/
